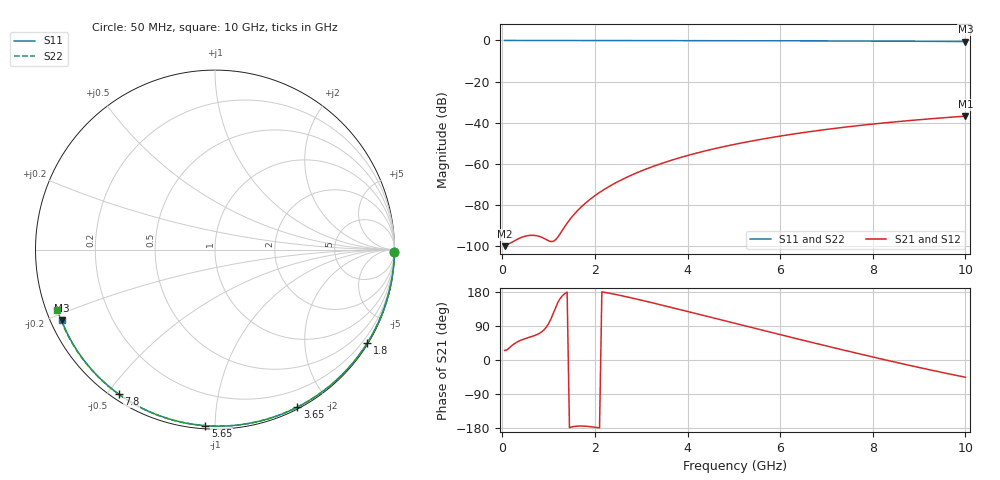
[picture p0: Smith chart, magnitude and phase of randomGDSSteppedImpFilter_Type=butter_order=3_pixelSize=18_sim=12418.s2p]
! freq	dB(S11)	phase(S11)	dB(S12)	phase(S12)
!  dB(S21)	phase(S21)	dB(S22)	phase(S22)
!S-par simulation data
#  GHz  S  DB  R 50
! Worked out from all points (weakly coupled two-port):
!   200 points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, 50 MHz to 10 GHz, reference 50 ohm
!   highest |S21| = -36.76 dB at 10 GHz (marker M1); lowest = -99.9 dB at 50 MHz (marker M2)
!   lowest |S11| = -0.5 dB at 10 GHz (marker M3), VSWR 32.89, Z = 1.59 - j11 ohm
!   |S11| at or under -10 dB: nowhere
!   |S22| runs from -0.5 to 0.0 dB; largest |S21 - S12| = 0
!   S11 on the Smith chart (normalised r, x): 50 MHz: open; 1.8 GHz: 0.03, -3.53; 3.65 GHz: 0.02, -1.65; 5.65 GHz: 0.02, -0.95; 7.8 GHz: 0.02, -0.53; 10 GHz: 0.03, -0.22
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0.05  -0.00 -0.9  -99.95 25.3  -99.95 25.3  -0.00 -0.9
0.45  -0.01 -8.0  -95.40 54.5  -95.40 54.5  -0.01 -8.2
0.9  -0.02 -16.0  -96.15 79.5  -96.15 79.5  -0.02 -16.3
1.75  -0.04 -30.8  -79.93 -174.4  -79.93 -174.4  -0.04 -31.4
1.8  -0.04 -31.6  -78.94 -174.8  -78.94 -174.8  -0.04 -32.2
1.95  -0.04 -34.2  -76.23 -176.6  -76.23 -176.6  -0.04 -34.9
2.1  -0.05 -36.8  -73.84 -179.2  -73.84 -179.2  -0.05 -37.5
2.3  -0.05 -40.2  -71.03 176.5  -71.03 176.5  -0.05 -40.9
2.5  -0.06 -43.5  -68.56 171.6  -68.56 171.6  -0.06 -44.4
2.9  -0.06 -50.2  -64.34 160.8  -64.34 160.8  -0.07 -51.2
3.4  -0.08 -58.4  -60.05 146.2  -60.05 146.2  -0.08 -59.6
3.65  -0.08 -62.4  -58.21 138.7  -58.21 138.7  -0.09 -63.7
4.3  -0.10 -72.7  -54.12 118.8  -54.12 118.8  -0.11 -74.2
5.05  -0.13 -84.2  -50.32 95.8  -50.32 95.8  -0.13 -86.0
5.65  -0.15 -93.1  -47.78 77.5  -47.78 77.5  -0.16 -95.2
6.15  -0.18 -100.4  -45.93 62.4  -45.93 62.4  -0.18 -102.7
6.7  -0.21 -108.3  -44.12 45.9  -44.12 45.9  -0.22 -110.8
7.25  -0.25 -116.1  -42.52 29.7  -42.52 29.7  -0.26 -118.8
7.8  -0.29 -123.8  -41.10 13.7  -41.10 13.7  -0.30 -126.8
8.35  -0.34 -131.4  -39.83 -2.0  -39.83 -2.0  -0.35 -134.8
9.2  -0.42 -143.4  -38.14 -25.1  -38.14 -25.1  -0.44 -147.1
10  -0.53 -155.3  -36.76 -45.5  -36.76 -45.5  -0.54 -159.0
